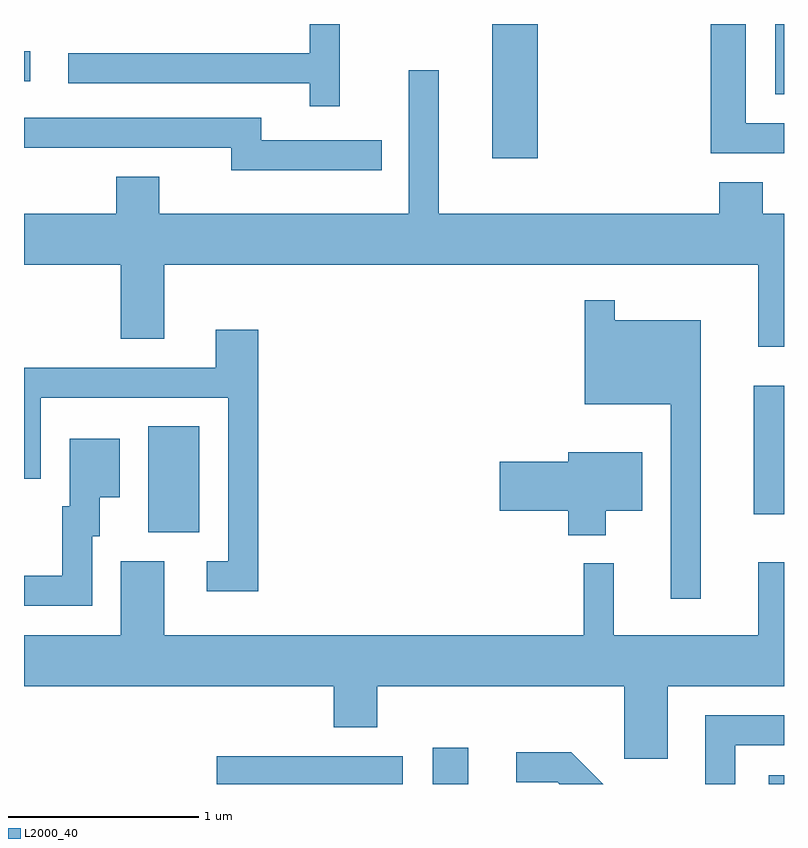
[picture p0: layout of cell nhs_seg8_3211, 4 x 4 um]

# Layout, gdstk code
import gdstk
lib = gdstk.Library(unit=1e-6, precision=1e-09)
def R(c, l, rs):  # rectangles x0, y0, x1, y1
    for r in rs: c.add(gdstk.rectangle(r[:2], r[2:], *l))
def P(c, l, *ps):  # polygons
    for p in ps: c.add(gdstk.Polygon(p, *l))
L2000_40 = (2000, 40)

nhs_seg8_3211 = lib.new_cell('nhs_seg8_3211')
R(nhs_seg8_3211, L2000_40, [(282.626,1840.342,283.604,1840.489), (283.761,1840.342,283.949,1840.534), (285.531,1840.342,285.611,1840.389), (282.266,1841.666,282.534,1842.224), (285.451,1841.761,285.611,1842.439), (284.076,1843.636,284.314,1844.342), (285.566,1843.971,285.611,1844.342), (281.611,1844.041,281.643,1844.199), (281.866,1844.341,282.568,1844.342)])
P(nhs_seg8_3211, L2000_40, [(283.274,1844.342),(283.116,1844.342),(283.116,1844.189),(281.843,1844.189),(281.843,1844.031),(283.116,1844.031),(283.116,1843.908),(283.274,1843.908)],
  [(285.611,1843.819),(285.409,1843.819),(285.409,1844.342),(285.226,1844.342),(285.226,1843.661),(285.611,1843.661)],
  [(285.611,1843.344),(285.499,1843.344),(285.499,1843.509),(285.271,1843.509),(285.271,1843.344),(283.794,1843.344),(283.794,1844.098),(283.636,1844.098),(283.636,1843.344),(282.324,1843.344),(282.324,1843.539),(282.096,1843.539),(282.096,1843.344),(281.611,1843.344),(281.611,1843.076),(282.121,1843.076),(282.121,1842.686),(282.349,1842.686),(282.349,1843.076),(285.476,1843.076),(285.476,1842.643),(285.611,1842.643)],
  [(283.493,1843.729),(282.859,1843.729),(282.859,1843.849),(281.611,1843.849),(281.611,1843.691),(282.701,1843.691),(282.701,1843.571),(283.493,1843.571)],
  [(285.174,1842.784),(284.719,1842.784),(284.719,1842.888),(284.561,1842.888),(284.561,1842.341),(285.016,1842.341),(285.016,1841.318),(285.174,1841.318)],
  [(282.844,1842.734),(282.621,1842.734),(282.621,1842.534),(281.611,1842.534),(281.611,1841.948),(281.699,1841.948),(281.699,1842.376),(282.686,1842.376),(282.686,1841.514),(282.573,1841.514),(282.573,1841.356),(282.844,1841.356)],
  [(281.969,1841.646),(282.009,1841.646),(282.009,1841.851),(282.114,1841.851),(282.114,1842.159),(281.851,1842.159),(281.851,1841.804),(281.811,1841.804),(281.811,1841.439),(281.611,1841.439),(281.611,1841.281),(281.969,1841.281)],
  [(284.674,1841.781),(284.864,1841.781),(284.864,1842.089),(284.476,1842.089),(284.476,1842.039),(284.116,1842.039),(284.116,1841.781),(284.476,1841.781),(284.476,1841.651),(284.674,1841.651)],
  [(284.999,1840.856),(285.611,1840.856),(285.611,1841.508),(285.476,1841.508),(285.476,1841.124),(284.714,1841.124),(284.714,1841.503),(284.556,1841.503),(284.556,1841.124),(282.349,1841.124),(282.349,1841.514),(282.121,1841.514),(282.121,1841.124),(281.611,1841.124),(281.611,1840.856),(283.241,1840.856),(283.241,1840.641),(283.469,1840.641),(283.469,1840.856),(284.771,1840.856),(284.771,1840.476),(284.999,1840.476)],
  [(285.354,1840.546),(285.611,1840.546),(285.611,1840.704),(285.196,1840.704),(285.196,1840.342),(285.354,1840.342)],
  [(284.492,1840.509),(284.203,1840.509),(284.203,1840.351),(284.419,1840.351),(284.428,1840.342),(284.659,1840.342)])

lib.write_gds('nhs_seg8_3211.gds')
